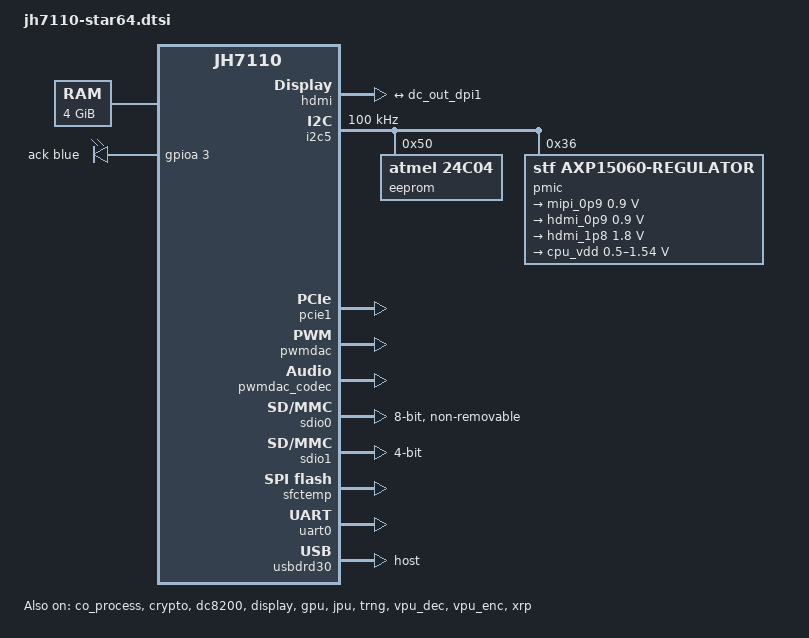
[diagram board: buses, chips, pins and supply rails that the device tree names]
// SPDX-License-Identifier: GPL-2.0 OR MIT
/*
 * Copyright (C) 2022 StarFive Technology Co., Ltd.
 * Copyright (C) 2022 Hal Feng <hal.feng@starfivetech.com>
 */

#include <dt-bindings/gpio/gpio.h>
#include <dt-bindings/leds/common.h>
#include <dt-bindings/pinctrl/starfive,jh7110-pinfunc.h>
#include "jh7110.dtsi"
#include "codecs/sf_pwmdac.dtsi"

/ {
	aliases {
		spi0 = &qspi;
		gpio0 = &gpio;
		ethernet0 = &gmac0;
		ethernet1 = &gmac1;
		mmc0 = &sdio0;
		mmc1 = &sdio1;
		serial0 = &uart0;
		serial3 = &uart3;
		i2c0 = &i2c0;
		i2c1 = &i2c1;
		i2c2 = &i2c2;
		i2c3 = &i2c3;
		i2c4 = &i2c4;
		i2c5 = &i2c5;
		i2c6 = &i2c6;
	};

	chosen {
		stdout-path = "serial0:115200";
		#bootargs = "debug console=ttyS0 rootwait";
	};

	cpus {
		timebase-frequency = <4000000>;
	};

	memory@40000000 {
		device_type = "memory";
		reg = <0x0 0x40000000 0x1 0x0>;
	};

	leds {
		compatible = "gpio-leds";

		led {
			gpios = <&gpioa 3 GPIO_ACTIVE_HIGH>;
			color = <LED_COLOR_ID_BLUE>;
			function = LED_FUNCTION_INDICATOR;
			linux,default-trigger = "heartbeat";
			label = "ack";
		};
	};

	reserved-memory {
		#address-cells = <2>;
		#size-cells = <2>;
		ranges;

		linux,cma {
			compatible = "shared-dma-pool";
			reusable;
			size = <0x0 0x20000000>;
			alignment = <0x0 0x1000>;
			alloc-ranges = <0x0 0xa0000000 0x0 0x20000000>;
			linux,cma-default;
		};

		e24_mem: e24@c0000000 {
			no-map;
			reg = <0x0 0xc0110000 0x0 0xf0000>;
		};

		xrp_reserved: xrpbuffer@f0000000 {
			reg = <0x0 0xf0000000 0x0 0x01ffffff
				0x0 0xf2000000 0x0 0x00001000
				0x0 0xf2001000 0x0 0x00fff000
				0x0 0xf3000000 0x0 0x00001000>;
		};

	};
};

&co_process {
	status = "okay";
};

&crypto {
	status = "okay";
};

&dc8200 {
	status = "okay";

	dc_out: port {
		#address-cells = <1>;
		#size-cells = <0>;

		dc_out_dpi0: endpoint@0 {
			reg = <0>;
			remote-endpoint = <&hdmi_input0>;
		};

		dc_out_dpi1: endpoint@1 {
			reg = <1>;
			remote-endpoint = <&hdmi_in_lcdc>;
		};
	};
};

&display {
	status = "okay";
};

&dma {
	status = "okay";
};

&gpio {
	uart0_pins: uart0-pins {
		uart0-pins-tx {
			starfive,pins = <PAD_GPIO5>;
			starfive,pin-ioconfig = <IO(GPIO_IE(1) | GPIO_DS(3))>;
			starfive,pin-gpio-dout = <GPO_UART0_SOUT>;
			starfive,pin-gpio-doen = <OEN_LOW>;
		};

		uart0-pins-rx {
			starfive,pins = <PAD_GPIO6>;
			starfive,pinmux = <PAD_GPIO6_FUNC_SEL 0>;
			starfive,pin-ioconfig = <IO(GPIO_IE(1) | GPIO_PU(1))>;
			starfive,pin-gpio-doen = <OEN_HIGH>;
			starfive,pin-gpio-din =  <GPI_UART0_SIN>;
		};
	};

	mmc0_pins: mmc0-pins {
		 mmc0-pins-rest {
			starfive,pins = <PAD_GPIO62>;
			starfive,pinmux = <PAD_GPIO62_FUNC_SEL 0>;
			starfive,pin-ioconfig = <IO(GPIO_IE(1) | (GPIO_PU(1)))>;
			starfive,pin-gpio-dout = <GPO_SDIO0_RST_N>;
			starfive,pin-gpio-doen = <OEN_LOW>;
		};
	};

	sdcard1_pins: sdcard1-pins {
		sdcard1-pins0 {
			starfive,pins = <PAD_GPIO10>;
			starfive,pinmux = <PAD_GPIO10_FUNC_SEL 0>;
			starfive,pin-ioconfig = <IO(GPIO_IE(1) | (GPIO_PU(1)))>;
			starfive,pin-gpio-dout = <GPO_SDIO1_CCLK_OUT>;
			starfive,pin-gpio-doen = <OEN_LOW>;
		};

		sdcard1-pins1 {
			starfive,pins = <PAD_GPIO9>;
			starfive,pinmux = <PAD_GPIO9_FUNC_SEL 0>;
			starfive,pin-ioconfig = <IO(GPIO_IE(1) | (GPIO_PU(1)))>;
			starfive,pin-gpio-dout = <GPO_SDIO1_CCMD_OUT>;
			starfive,pin-gpio-doen = <OEN_SDIO1_CCMD_OUT_EN>;
			starfive,pin-gpio-din =  <GPI_SDIO1_CCMD_IN>;
		};

		sdcard1-pins2 {
			starfive,pins = <PAD_GPIO11>;
			starfive,pinmux = <PAD_GPIO11_FUNC_SEL 0>;
			starfive,pin-ioconfig = <IO(GPIO_IE(1) | (GPIO_PU(1)))>;
			starfive,pin-gpio-dout = <GPO_SDIO1_CDATA_OUT_0>;
			starfive,pin-gpio-doen = <OEN_SDIO1_CDATA_OUT_EN_0>;
			starfive,pin-gpio-din =  <GPI_SDIO1_CDATA_IN_0>;
		};

		sdcard1-pins3 {
			starfive,pins = <PAD_GPIO12>;
			starfive,pinmux = <PAD_GPIO12_FUNC_SEL 0>;
			starfive,pin-ioconfig = <IO(GPIO_IE(1) | (GPIO_PU(1)))>;
			starfive,pin-gpio-dout = <GPO_SDIO1_CDATA_OUT_1>;
			starfive,pin-gpio-doen = <OEN_SDIO1_CDATA_OUT_EN_1>;
			starfive,pin-gpio-din =  <GPI_SDIO1_CDATA_IN_1>;
		};

		sdcard1-pins4 {
			starfive,pins = <PAD_GPIO7>;
			starfive,pinmux = <PAD_GPIO7_FUNC_SEL 0>;
			starfive,pin-ioconfig = <IO(GPIO_IE(1) | (GPIO_PU(1)))>;
			starfive,pin-gpio-dout = <GPO_SDIO1_CDATA_OUT_2>;
			starfive,pin-gpio-doen = <OEN_SDIO1_CDATA_OUT_EN_2>;
			starfive,pin-gpio-din =  <GPI_SDIO1_CDATA_IN_2>;
		};

		sdcard1-pins5 {
			starfive,pins = <PAD_GPIO8>;
			starfive,pinmux = <PAD_GPIO8_FUNC_SEL 0>;
			starfive,pin-ioconfig = <IO(GPIO_IE(1) | (GPIO_PU(1)))>;
			starfive,pin-gpio-dout = <GPO_SDIO1_CDATA_OUT_3>;
			starfive,pin-gpio-doen = <OEN_SDIO1_CDATA_OUT_EN_3>;
			starfive,pin-gpio-din =  <GPI_SDIO1_CDATA_IN_3>;
		};
	};

	inno_hdmi_pins: inno_hdmi-pins {
		inno_hdmi-scl {
			starfive,pins = <PAD_GPIO0>;
			starfive,pin-ioconfig = <IO(GPIO_IE(1) | (GPIO_PU(1)))>;
			starfive,pin-gpio-dout = <GPO_HDMI0_DDC_SCL_OUT>;
			starfive,pin-gpio-doen = <OEN_HDMI0_DDC_SCL_OEN>;
			starfive,pin-gpio-din =  <GPI_HDMI0_DDC_SCL_IN>;
		};

		inno_hdmi-sda {
			starfive,pins = <PAD_GPIO1>;
			starfive,pin-ioconfig = <IO(GPIO_IE(1) | (GPIO_PU(1)))>;
			starfive,pin-gpio-dout = <GPO_HDMI0_DDC_SDA_OUT>;
			starfive,pin-gpio-doen = <OEN_HDMI0_DDC_SDA_OEN>;
			starfive,pin-gpio-din =  <GPI_HDMI0_DDC_SDA_IN>;
		};

		inno_hdmi-cec-pins {
			starfive,pins = <PAD_GPIO14>;
			//starfive,pinmux = <PAD_GPIO14_FUNC_SEL 0>;
			starfive,pin-ioconfig = <IO(GPIO_IE(1) | (GPIO_PU(1)))>;
			starfive,pin-gpio-doen = <OEN_HDMI0_CEC_SDA_OEN>;
			starfive,pin-gpio-dout = <GPO_HDMI0_CEC_SDA_OUT>;
			starfive,pin-gpio-din =  <GPI_HDMI0_CEC_SDA_IN>;
		};

		inno_hdmi-hpd-pins {
			starfive,pins = <PAD_GPIO15>;
			//starfive,pinmux = <PAD_GPIO15_FUNC_SEL 0>;
			starfive,pin-ioconfig = <IO(GPIO_IE(1))>;
			starfive,pin-gpio-doen = <OEN_HIGH>;
			starfive,pin-gpio-din =  <GPI_HDMI0_HPD>;
		};
	};

	i2c5_pins: i2c5-pins {
		i2c5-pins-scl {
			starfive,pins = <PAD_GPIO19>;
			starfive,pinmux = <PAD_GPIO19_FUNC_SEL 0>;
			starfive,pin-ioconfig = <IO(GPIO_IE(1) | (GPIO_PU(1)))>;
			starfive,pin-gpio-dout = <GPO_LOW>;
			starfive,pin-gpio-doen = <OEN_I2C5_IC_CLK_OE>;
			starfive,pin-gpio-din =  <GPI_I2C5_IC_CLK_IN_A>;
		};

		i2c5-pins-sda {
			starfive,pins = <PAD_GPIO20>;
			starfive,pinmux = <PAD_GPIO20_FUNC_SEL 0>;
			starfive,pin-ioconfig = <IO(GPIO_IE(1) | (GPIO_PU(1)))>;
			starfive,pin-gpio-dout = <GPO_LOW>;
			starfive,pin-gpio-doen = <OEN_I2C5_IC_DATA_OE>;
			starfive,pin-gpio-din =  <GPI_I2C5_IC_DATA_IN_A>;
		};
	};

	pwmdac0_pins: pwmdac0-pins {
		pwmdac0-pins-left {
			starfive,pins = <PAD_GPIO33>;
			starfive,pinmux = <PAD_GPIO33_FUNC_SEL 0>;
			starfive,pin-ioconfig = <IO(GPIO_IE(1) | (GPIO_PU(1)))>;
			starfive,pin-gpio-dout = <GPO_PWMDAC0_LEFT_OUTPUT>;
			starfive,pin-gpio-doen = <OEN_LOW>;
		};

		pwmdac0-pins-right {
			starfive,pins = <PAD_GPIO34>;
			starfive,pinmux = <PAD_GPIO34_FUNC_SEL 0>;
			starfive,pin-ioconfig = <IO(GPIO_IE(1) | (GPIO_PU(1)))>;
			starfive,pin-gpio-dout = <GPO_PWMDAC0_RIGHT_OUTPUT>;
			starfive,pin-gpio-doen = <OEN_LOW>;
		};
	};

	pcie1_perst_default: pcie1_perst_default {
		perst-pins {
			starfive,pins = <PAD_GPIO28>;
			starfive,pinmux = <PAD_GPIO28_FUNC_SEL 0>;
			starfive,pin-ioconfig = <IO(GPIO_IE(1))>;
			starfive,pin-gpio-dout = <GPO_HIGH>;
			starfive,pin-gpio-doen = <OEN_LOW>;
		};
	};

	pcie1_perst_active: pcie1_perst_active {
		perst-pins {
			starfive,pins = <PAD_GPIO28>;
			starfive,pinmux = <PAD_GPIO28_FUNC_SEL 0>;
			starfive,pin-ioconfig = <IO(GPIO_IE(1))>;
			starfive,pin-gpio-dout = <GPO_LOW>;
			starfive,pin-gpio-doen = <OEN_LOW>;
		};
	};

	pcie1_wake_default: pcie1_wake_default {
		wake-pins {
			starfive,pins = <PAD_GPIO26>;
			starfive,pinmux = <PAD_GPIO26_FUNC_SEL 0>;
			starfive,pin-ioconfig = <IO(GPIO_IE(1))>;
			starfive,pin-gpio-doen = <OEN_HIGH>;
		};
	};

	pcie1_clkreq_default: pcie1_clkreq_default {
		clkreq-pins {
			starfive,pins = <PAD_GPIO21>;
			starfive,pinmux = <PAD_GPIO21_FUNC_SEL 0>;
			starfive,pin-ioconfig = <IO(GPIO_IE(1))>;
			starfive,pin-gpio-doen = <OEN_HIGH>;
		};
	};

	usb_pins: usb-pins {
		drive-vbus-pin {
			starfive,pins = <PAD_GPIO25>;
			starfive,pinmux = <PAD_GPIO25_FUNC_SEL 0>;
			starfive,pin-ioconfig = <IO(GPIO_IE(1))>;
			starfive,pin-gpio-dout = <GPO_USB0_DRIVE_VBUS_IO>;
			starfive,pin-gpio-doen = <OEN_LOW>;
		};
	};
};

&gpu {
	status = "okay";
};

&hdmi {
	status = "okay";
	pinctrl-names = "default";
	pinctrl-0 = <&inno_hdmi_pins>;

	hdmi_in: port {
		#address-cells = <1>;
		#size-cells = <0>;
		hdmi_in_lcdc: endpoint@0 {
			reg = <0>;
			remote-endpoint = <&dc_out_dpi1>;
		};
	};
};

&i2c5 {
	clock-frequency = <100000>;
	i2c-sda-hold-time-ns = <300>;
	i2c-sda-falling-time-ns = <510>;
	i2c-scl-falling-time-ns = <510>;
	auto_calc_scl_lhcnt;
	pinctrl-names = "default";
	pinctrl-0 = <&i2c5_pins>;
	status = "okay";

	eeprom@50 {
		compatible = "atmel,24c04";
		reg = <0x50>;
		pagesize = <16>;
	};

	pmic: axp15060_reg@36 {
		compatible = "stf,axp15060-regulator";
		reg = <0x36>;

		regulators {
			mipi_0p9: ALDO1 {
				regulator-boot-on;
				regulator-compatible = "mipi_0p9";
				regulator-name = "mipi_0p9";
				regulator-min-microvolt = <900000>;
				regulator-max-microvolt = <900000>;
			};
			hdmi_0p9: ALDO5 {
				regulator-boot-on;
				regulator-compatible = "hdmi_0p9";
				regulator-name = "hdmi_0p9";
				regulator-min-microvolt = <900000>;
				regulator-max-microvolt = <900000>;
			};
			hdmi_1p8: ALDO3 {
				regulator-boot-on;
				regulator-compatible = "hdmi_1p8";
				regulator-name = "hdmi_1p8";
				regulator-min-microvolt = <1800000>;
				regulator-max-microvolt = <1800000>;
			};
			cpu_vdd: DCDC2 {
				regulator-boot-on;
				regulator-always-on;
				regulator-compatible = "cpu_vdd";
				regulator-name = "cpu_vdd";
				regulator-min-microvolt = <500000>;
				regulator-max-microvolt = <1540000>;
			};
		};
	};
};

&jpu {
	status = "okay";
};

&mailbox_contrl0 {
	status = "okay";
};

&mailbox_client0 {
	status = "okay";
};

&pcie1 {
	pinctrl-names = "default", "perst-default", "perst-active";
	pinctrl-0 = <&pcie1_wake_default>,
		    <&pcie1_clkreq_default>;
	pinctrl-1 = <&pcie1_perst_default>;
	pinctrl-2 = <&pcie1_perst_active>;
	status = "okay";
};

&pwmdac {
	pinctrl-names = "default";
	pinctrl-0 = <&pwmdac0_pins>;
	status = "okay";
};

&pwmdac_codec {
	status = "okay";
};

&rgb_output {
	status = "disabled";

	ports {
		#address-cells = <1>;
		#size-cells = <0>;
		port@0 {
			#address-cells = <1>;
			#size-cells = <0>;
			reg = <0>;

			hdmi_input0: endpoint@0 {
				reg = <0>;
				remote-endpoint = <&dc_out_dpi0>;
			};
		};
	};
};

&sdio0 {
	pinctrl-names = "default";
	pinctrl-0 = <&mmc0_pins>;
	max-frequency = <100000000>;
	card-detect-delay = <300>;
	bus-width = <8>;
	cap-mmc-highspeed;
	mmc-ddr-1_8v;
	mmc-hs200-1_8v;
	non-removable;
	cap-mmc-hw-reset;
	post-power-on-delay-ms = <200>;
	status = "okay";
};

&sdio1 {
	pinctrl-names = "default";
	pinctrl-0 = <&sdcard1_pins>;
	//cd-gpios = <&gpio 41 0>;
	clock-frequency = <102400000>;
	max-frequency = <200000000>;
	card-detect-delay = <300>;
	bus-width = <4>;
	broken-cd;
	cap-sd-highspeed;
	post-power-on-delay-ms = <200>;
	status = "okay";
};

&sec_dma {
	status = "okay";
};

&sfctemp {
	status = "okay";
};

&trng {
	status = "okay";
};

&uart0 {
	pinctrl-names = "default";
	pinctrl-0 = <&uart0_pins>;
	status = "okay";
};

&usbdrd30 {
	pinctrl-names = "default";
	pinctrl-0 = <&usb_pins>;
	dr_mode = "host";
	status = "okay";
};

&vpu_dec {
	status = "okay";
};

&vpu_enc {
	status = "okay";
};

&xrp {
	status = "okay";
};
